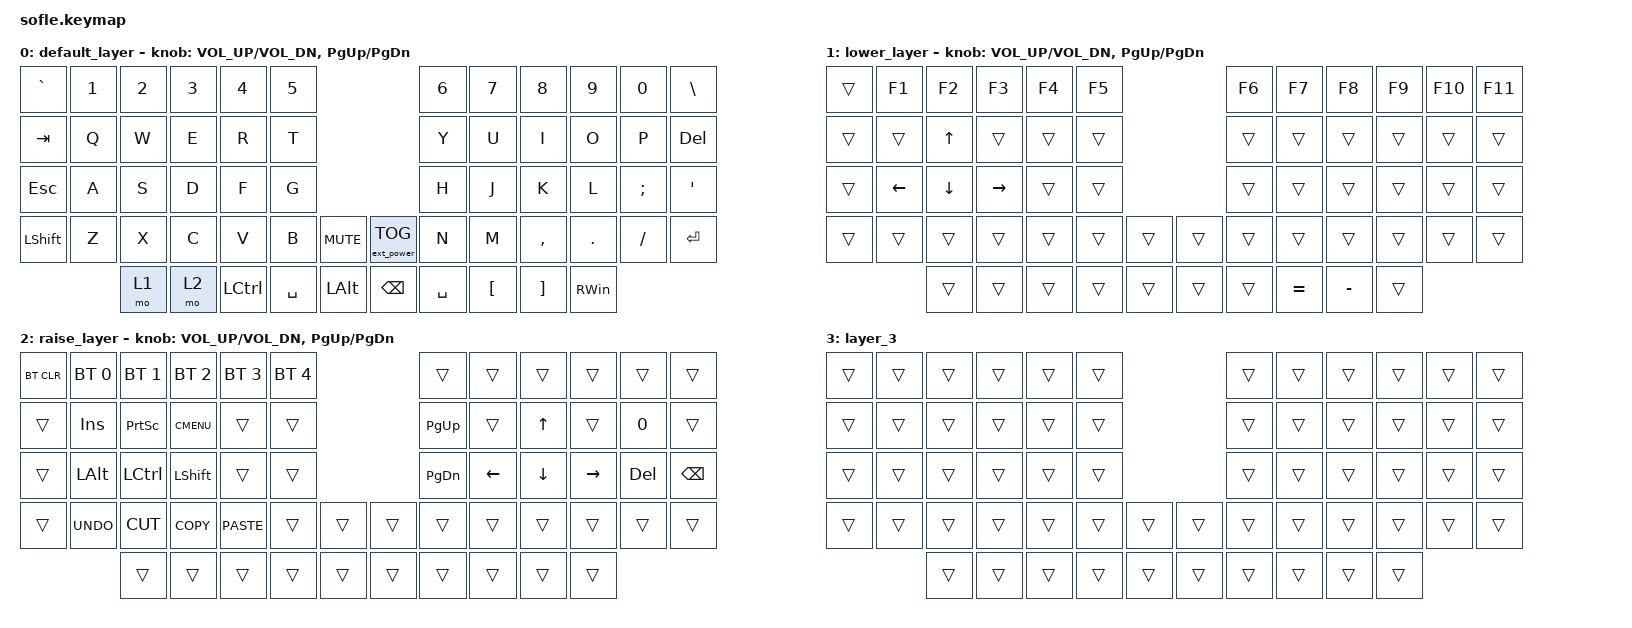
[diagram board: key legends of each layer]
/*
 * Copyright (c) 2020 The ZMK Contributors
 *
 * SPDX-License-Identifier: MIT
 */

#include <behaviors.dtsi>
#include <dt-bindings/zmk/bt.h>
#include <dt-bindings/zmk/ext_power.h>
#include <dt-bindings/zmk/keys.h>

/ {
    keymap {
        compatible = "zmk,keymap";

        default_layer {
            // ------------------------------------------------------------------------------------------------------------
            // |  `    |  1  |  2  |  3   |  4   |  5   |                         |  6   |  7    |  8    |  9   |   0   |       |
            // |  ESC  |  Q  |  W  |  E   |  R   |  T   |                         |  Y   |  U    |  I    |  O   |   P   | BKSPC |
            // |  TAB  |  A  |  S  |  D   |  F   |  G   |                         |  H   |  J    |  K    |  L   |   ;   |   '   |
            // | SHIFT |  Z  |  X  |  C   |  V   |  B   |  MUTE  |        | ExtPw |  N   |  M    |  ,    |  .   |   /   | SHIFT |
            //               | GUI | ALT  | CTRL | LOWER|  ENTER |        | SPACE | RAISE| CTRL  | ALT   | GUI  |

            bindings = <
&kp GRAVE   &kp N1  &kp N2  &kp N3  &kp N4     &kp N5                                        &kp N6     &kp N7            &kp N8             &kp N9         &kp N0    &kp BACKSLASH
&kp TAB     &kp Q   &kp W   &kp E   &kp R      &kp T                                         &kp Y      &kp U             &kp I              &kp O          &kp P     &kp DELETE
&kp ESCAPE  &kp A   &kp S   &kp D   &kp F      &kp G                                         &kp H      &kp J             &kp K              &kp L          &kp SEMI  &kp SQT
&kp LSHFT   &kp Z   &kp X   &kp C   &kp V      &kp B      &kp C_MUTE      &ext_power EP_TOG  &kp N      &kp M             &kp COMMA          &kp DOT        &kp FSLH  &kp ENTER
                    &mo 1   &mo 2   &kp LCTRL  &kp SPACE  &kp LEFT_ALT    &kp BACKSPACE      &kp SPACE  &kp LEFT_BRACKET  &kp RIGHT_BRACKET  &kp RIGHT_WIN
            >;

            sensor-bindings = <&inc_dec_kp C_VOL_UP C_VOL_DN &inc_dec_kp PG_UP PG_DN>;
        };

        lower_layer {
            // TODO: Some binds are waiting for shifted keycode support.
            // ------------------------------------------------------------------------------------------------------------
            // |       |  F1 |  F2 |  F3  |  F4  |  F5  |                   |  F6  |  F7   |  F8   |  F9  |  F10  |  F11  |
            // | `     |   1 |   2 |   3  |   4  |   5  |                   |   6  |   7   |   8   |   9  |    0  |  F12  |
            // |       |  !  |  @  |  #   |  $   |  %   |                   |  ^   |  &    |  *    |  (   |   )   |   |   |
            // |       |  =  |  -  |  +   |  {   |  }   |        |  |       |  [   |  ]    |  ;    |  :   |   \   |       |
            //               |     |      |      |      |        |  |       |      |       |       |      |

            bindings = <
&trans  &kp F1          &kp F2          &kp F3     &kp F4  &kp F5                    &kp F6  &kp F7     &kp F8     &kp F9  &kp F10  &kp F11
&trans  &trans          &kp UP_ARROW    &trans     &trans  &trans                    &trans  &trans     &trans     &trans  &trans   &trans
&trans  &kp LEFT_ARROW  &kp DOWN_ARROW  &kp RIGHT  &trans  &trans                    &trans  &trans     &trans     &trans  &trans   &trans
&trans  &trans          &trans          &trans     &trans  &trans  &trans    &trans  &trans  &trans     &trans     &trans  &trans   &trans
                        &trans          &trans     &trans  &trans  &trans    &trans  &trans  &kp EQUAL  &kp MINUS  &trans
            >;

            sensor-bindings = <&inc_dec_kp C_VOL_UP C_VOL_DN &inc_dec_kp PG_UP PG_DN>;
        };

        raise_layer {
            // ------------------------------------------------------------------------------------------------------------
            // |BTCLR| BT1  | BT2  |  BT3  |  BT4  |  BT5 |                |      |      |       |      |       |       |
            // |     | INS  | PSCR | GUI   |       |      |                | PGUP |      |   ^   |      |       |       |
            // |     | ALT  | CTRL | SHIFT |       | CAPS |                | PGDN |   <- |   v   |  ->  |  DEL  | BKSPC |
            // |     | UNDO | CUT  | COPY  | PASTE |      |      |  |      |      |      |       |      |       |       |
            //              |      |       |       |      |      |  |      |      |      |       |      |

            bindings = <
&bt BT_CLR  &bt BT_SEL 0  &bt BT_SEL 1  &bt BT_SEL 2  &bt BT_SEL 3  &bt BT_SEL 4                    &trans     &trans    &trans    &trans     &trans   &trans
&trans      &kp INS       &kp PSCRN     &kp K_CMENU   &trans        &trans                          &kp PG_UP  &trans    &kp UP    &trans     &kp N0   &trans
&trans      &kp LALT      &kp LCTRL     &kp LSHFT     &trans        &trans                          &kp PG_DN  &kp LEFT  &kp DOWN  &kp RIGHT  &kp DEL  &kp BSPC
&trans      &kp K_UNDO    &kp K_CUT     &kp K_COPY    &kp K_PASTE   &trans        &trans    &trans  &trans     &trans    &trans    &trans     &trans   &trans
                          &trans        &trans        &trans        &trans        &trans    &trans  &trans     &trans    &trans    &trans
            >;

            sensor-bindings = <&inc_dec_kp C_VOL_UP C_VOL_DN &inc_dec_kp PG_UP PG_DN>;
        };

        layer_3 {
            bindings = <
&trans  &trans  &trans  &trans  &trans  &trans                    &trans  &trans  &trans  &trans  &trans  &trans
&trans  &trans  &trans  &trans  &trans  &trans                    &trans  &trans  &trans  &trans  &trans  &trans
&trans  &trans  &trans  &trans  &trans  &trans                    &trans  &trans  &trans  &trans  &trans  &trans
&trans  &trans  &trans  &trans  &trans  &trans  &trans    &trans  &trans  &trans  &trans  &trans  &trans  &trans
                &trans  &trans  &trans  &trans  &trans    &trans  &trans  &trans  &trans  &trans
            >;
        };
    };
};
